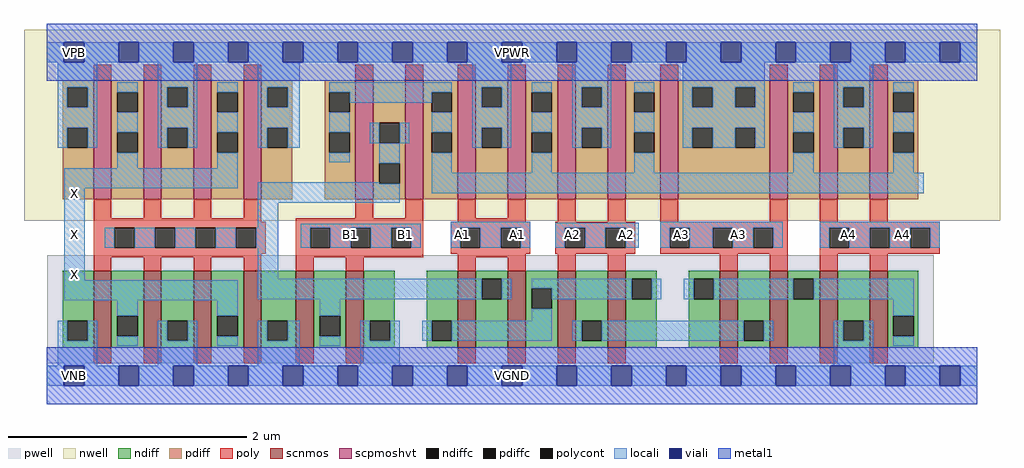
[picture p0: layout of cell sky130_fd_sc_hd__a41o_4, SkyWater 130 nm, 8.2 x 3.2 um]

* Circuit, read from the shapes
.subckt sky130_fd_sc_hd__a41o_4 A1 A2 A3 A4 B1 VGND VNB VPB VPWR X
XM1 X n1 VGND VNB sky130_fd_pr__nfet_01v8 w=0.65 l=0.15 m=4
XM2 n1 B1 VGND VNB sky130_fd_pr__nfet_01v8 w=0.65 l=0.15 m=2
XM3 n1 A1 n2 VNB sky130_fd_pr__nfet_01v8 w=0.65 l=0.15 m=2
XM4 n3 A2 n2 VNB sky130_fd_pr__nfet_01v8 w=0.65 l=0.15 m=2
XM5 n3 A3 n4 VNB sky130_fd_pr__nfet_01v8 w=0.65 l=0.15 m=2
XM6 VGND A4 n4 VNB sky130_fd_pr__nfet_01v8 w=0.65 l=0.15 m=2
XM7 X n1 VPWR VPB sky130_fd_pr__pfet_01v8_hvt w=1 l=0.15 m=4
XM8 n1 B1 n5 VPB sky130_fd_pr__pfet_01v8_hvt w=1 l=0.15 m=2
XM9 VPWR A1 n5 VPB sky130_fd_pr__pfet_01v8_hvt w=1 l=0.15 m=2
XM10 VPWR A2 n5 VPB sky130_fd_pr__pfet_01v8_hvt w=1 l=0.15 m=2
XM11 VPWR A3 n5 VPB sky130_fd_pr__pfet_01v8_hvt w=1 l=0.15 m=2
XM12 VPWR A4 n5 VPB sky130_fd_pr__pfet_01v8_hvt w=1 l=0.15 m=2
.ends

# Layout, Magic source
magic
tech sky130A
magscale 1 2
<< nwell >>
rect -38 261 1602 582
<< pwell >>
rect 1 21 1491 203
rect 30 -17 64 21
<< scnmos >>
rect 79 47 109 177
rect 163 47 193 177
rect 247 47 277 177
rect 331 47 361 177
rect 419 47 449 177
rect 503 47 533 177
rect 691 47 721 177
rect 775 47 805 177
rect 859 47 889 177
rect 943 47 973 177
rect 1131 47 1161 177
rect 1215 47 1245 177
rect 1299 47 1329 177
rect 1383 47 1413 177
<< scpmoshvt >>
rect 79 297 109 497
rect 163 297 193 497
rect 247 297 277 497
rect 331 297 361 497
rect 519 297 549 497
rect 603 297 633 497
rect 691 297 721 497
rect 775 297 805 497
rect 859 297 889 497
rect 943 297 973 497
rect 1031 297 1061 497
rect 1215 297 1245 497
rect 1299 297 1329 497
rect 1383 297 1413 497
<< ndiff >>
rect 27 93 79 177
rect 27 59 35 93
rect 69 59 79 93
rect 27 47 79 59
rect 109 101 163 177
rect 109 67 119 101
rect 153 67 163 101
rect 109 47 163 67
rect 193 93 247 177
rect 193 59 203 93
rect 237 59 247 93
rect 193 47 247 59
rect 277 101 331 177
rect 277 67 287 101
rect 321 67 331 101
rect 277 47 331 67
rect 361 93 419 177
rect 361 59 371 93
rect 405 59 419 93
rect 361 47 419 59
rect 449 101 503 177
rect 449 67 459 101
rect 493 67 503 101
rect 449 47 503 67
rect 533 93 585 177
rect 533 59 543 93
rect 577 59 585 93
rect 533 47 585 59
rect 639 93 691 177
rect 639 59 647 93
rect 681 59 691 93
rect 639 47 691 59
rect 721 163 775 177
rect 721 129 731 163
rect 765 129 775 163
rect 721 47 775 129
rect 805 147 859 177
rect 805 113 815 147
rect 849 113 859 147
rect 805 47 859 113
rect 889 93 943 177
rect 889 59 899 93
rect 933 59 943 93
rect 889 47 943 59
rect 973 163 1025 177
rect 973 129 983 163
rect 1017 129 1025 163
rect 973 47 1025 129
rect 1079 163 1131 177
rect 1079 129 1087 163
rect 1121 129 1131 163
rect 1079 47 1131 129
rect 1161 93 1215 177
rect 1161 59 1171 93
rect 1205 59 1215 93
rect 1161 47 1215 59
rect 1245 163 1299 177
rect 1245 129 1255 163
rect 1289 129 1299 163
rect 1245 47 1299 129
rect 1329 93 1383 177
rect 1329 59 1339 93
rect 1373 59 1383 93
rect 1329 47 1383 59
rect 1413 101 1465 177
rect 1413 67 1423 101
rect 1457 67 1465 101
rect 1413 47 1465 67
<< pdiff >>
rect 27 485 79 497
rect 27 451 35 485
rect 69 451 79 485
rect 27 417 79 451
rect 27 383 35 417
rect 69 383 79 417
rect 27 297 79 383
rect 109 477 163 497
rect 109 443 119 477
rect 153 443 163 477
rect 109 409 163 443
rect 109 375 119 409
rect 153 375 163 409
rect 109 297 163 375
rect 193 485 247 497
rect 193 451 203 485
rect 237 451 247 485
rect 193 417 247 451
rect 193 383 203 417
rect 237 383 247 417
rect 193 297 247 383
rect 277 477 331 497
rect 277 443 287 477
rect 321 443 331 477
rect 277 409 331 443
rect 277 375 287 409
rect 321 375 331 409
rect 277 297 331 375
rect 361 485 413 497
rect 361 451 371 485
rect 405 451 413 485
rect 361 417 413 451
rect 361 383 371 417
rect 405 383 413 417
rect 361 297 413 383
rect 467 477 519 497
rect 467 443 475 477
rect 509 443 519 477
rect 467 409 519 443
rect 467 375 475 409
rect 509 375 519 409
rect 467 297 519 375
rect 549 425 603 497
rect 549 391 559 425
rect 593 391 603 425
rect 549 357 603 391
rect 549 323 559 357
rect 593 323 603 357
rect 549 297 603 323
rect 633 477 691 497
rect 633 443 647 477
rect 681 443 691 477
rect 633 409 691 443
rect 633 375 647 409
rect 681 375 691 409
rect 633 297 691 375
rect 721 485 775 497
rect 721 451 731 485
rect 765 451 775 485
rect 721 417 775 451
rect 721 383 731 417
rect 765 383 775 417
rect 721 297 775 383
rect 805 477 859 497
rect 805 443 815 477
rect 849 443 859 477
rect 805 409 859 443
rect 805 375 815 409
rect 849 375 859 409
rect 805 297 859 375
rect 889 485 943 497
rect 889 451 899 485
rect 933 451 943 485
rect 889 417 943 451
rect 889 383 899 417
rect 933 383 943 417
rect 889 297 943 383
rect 973 477 1031 497
rect 973 443 987 477
rect 1021 443 1031 477
rect 973 409 1031 443
rect 973 375 987 409
rect 1021 375 1031 409
rect 973 297 1031 375
rect 1061 485 1215 497
rect 1061 451 1085 485
rect 1119 451 1157 485
rect 1191 451 1215 485
rect 1061 417 1215 451
rect 1061 383 1085 417
rect 1119 383 1157 417
rect 1191 383 1215 417
rect 1061 297 1215 383
rect 1245 477 1299 497
rect 1245 443 1255 477
rect 1289 443 1299 477
rect 1245 409 1299 443
rect 1245 375 1255 409
rect 1289 375 1299 409
rect 1245 297 1299 375
rect 1329 485 1383 497
rect 1329 451 1339 485
rect 1373 451 1383 485
rect 1329 417 1383 451
rect 1329 383 1339 417
rect 1373 383 1383 417
rect 1329 297 1383 383
rect 1413 477 1465 497
rect 1413 443 1423 477
rect 1457 443 1465 477
rect 1413 409 1465 443
rect 1413 375 1423 409
rect 1457 375 1465 409
rect 1413 297 1465 375
<< ndiffc >>
rect 35 59 69 93
rect 119 67 153 101
rect 203 59 237 93
rect 287 67 321 101
rect 371 59 405 93
rect 459 67 493 101
rect 543 59 577 93
rect 647 59 681 93
rect 731 129 765 163
rect 815 113 849 147
rect 899 59 933 93
rect 983 129 1017 163
rect 1087 129 1121 163
rect 1171 59 1205 93
rect 1255 129 1289 163
rect 1339 59 1373 93
rect 1423 67 1457 101
<< pdiffc >>
rect 35 451 69 485
rect 35 383 69 417
rect 119 443 153 477
rect 119 375 153 409
rect 203 451 237 485
rect 203 383 237 417
rect 287 443 321 477
rect 287 375 321 409
rect 371 451 405 485
rect 371 383 405 417
rect 475 443 509 477
rect 475 375 509 409
rect 559 391 593 425
rect 559 323 593 357
rect 647 443 681 477
rect 647 375 681 409
rect 731 451 765 485
rect 731 383 765 417
rect 815 443 849 477
rect 815 375 849 409
rect 899 451 933 485
rect 899 383 933 417
rect 987 443 1021 477
rect 987 375 1021 409
rect 1085 451 1119 485
rect 1157 451 1191 485
rect 1085 383 1119 417
rect 1157 383 1191 417
rect 1255 443 1289 477
rect 1255 375 1289 409
rect 1339 451 1373 485
rect 1339 383 1373 417
rect 1423 443 1457 477
rect 1423 375 1457 409
<< poly >>
rect 79 497 109 523
rect 163 497 193 523
rect 247 497 277 523
rect 331 497 361 523
rect 519 497 549 523
rect 603 497 633 523
rect 691 497 721 523
rect 775 497 805 523
rect 859 497 889 523
rect 943 497 973 523
rect 1031 497 1061 523
rect 1215 497 1245 523
rect 1299 497 1329 523
rect 1383 497 1413 523
rect 79 265 109 297
rect 163 265 193 297
rect 247 265 277 297
rect 331 265 361 297
rect 519 265 549 297
rect 603 265 633 297
rect 79 259 361 265
rect 79 249 368 259
rect 79 215 114 249
rect 148 215 182 249
rect 216 215 250 249
rect 284 215 318 249
rect 352 215 368 249
rect 79 205 368 215
rect 419 249 633 265
rect 691 265 721 297
rect 775 265 805 297
rect 691 259 805 265
rect 859 259 889 297
rect 943 259 973 297
rect 1031 259 1061 297
rect 1215 259 1245 297
rect 419 215 443 249
rect 477 215 511 249
rect 545 215 579 249
rect 613 215 633 249
rect 79 199 361 205
rect 79 177 109 199
rect 163 177 193 199
rect 247 177 277 199
rect 331 177 361 199
rect 419 199 633 215
rect 679 249 813 259
rect 679 215 695 249
rect 729 215 763 249
rect 797 215 813 249
rect 679 205 813 215
rect 855 249 989 259
rect 855 215 871 249
rect 905 215 939 249
rect 973 215 989 249
rect 855 205 989 215
rect 1031 249 1245 259
rect 1031 215 1047 249
rect 1081 215 1119 249
rect 1153 215 1187 249
rect 1221 215 1245 249
rect 1031 205 1245 215
rect 691 199 805 205
rect 419 177 449 199
rect 503 177 533 199
rect 691 177 721 199
rect 775 177 805 199
rect 859 177 889 205
rect 943 177 973 205
rect 1131 177 1161 205
rect 1215 177 1245 205
rect 1299 259 1329 297
rect 1383 259 1413 297
rect 1299 249 1501 259
rect 1299 215 1315 249
rect 1349 215 1383 249
rect 1417 215 1451 249
rect 1485 215 1501 249
rect 1299 205 1501 215
rect 1299 177 1329 205
rect 1383 177 1413 205
rect 79 21 109 47
rect 163 21 193 47
rect 247 21 277 47
rect 331 21 361 47
rect 419 21 449 47
rect 503 21 533 47
rect 691 21 721 47
rect 775 21 805 47
rect 859 21 889 47
rect 943 21 973 47
rect 1131 21 1161 47
rect 1215 21 1245 47
rect 1299 21 1329 47
rect 1383 21 1413 47
<< polycont >>
rect 114 215 148 249
rect 182 215 216 249
rect 250 215 284 249
rect 318 215 352 249
rect 443 215 477 249
rect 511 215 545 249
rect 579 215 613 249
rect 695 215 729 249
rect 763 215 797 249
rect 871 215 905 249
rect 939 215 973 249
rect 1047 215 1081 249
rect 1119 215 1153 249
rect 1187 215 1221 249
rect 1315 215 1349 249
rect 1383 215 1417 249
rect 1451 215 1485 249
<< locali >>
rect 0 527 29 561
rect 63 527 121 561
rect 155 527 213 561
rect 247 527 305 561
rect 339 527 397 561
rect 431 527 489 561
rect 523 527 581 561
rect 615 527 673 561
rect 707 527 765 561
rect 799 527 857 561
rect 891 527 949 561
rect 983 527 1041 561
rect 1075 527 1133 561
rect 1167 527 1225 561
rect 1259 527 1317 561
rect 1351 527 1409 561
rect 1443 527 1501 561
rect 1535 527 1564 561
rect 19 485 85 527
rect 19 451 35 485
rect 69 451 85 485
rect 19 417 85 451
rect 19 383 35 417
rect 69 383 85 417
rect 119 477 153 493
rect 119 409 153 443
rect 187 485 253 527
rect 187 451 203 485
rect 237 451 253 485
rect 187 417 253 451
rect 187 383 203 417
rect 237 383 253 417
rect 287 477 321 493
rect 287 409 321 443
rect 119 349 153 375
rect 355 485 425 527
rect 355 451 371 485
rect 405 451 425 485
rect 355 417 425 451
rect 355 383 371 417
rect 405 383 425 417
rect 475 477 681 493
rect 509 459 647 477
rect 475 409 509 443
rect 287 349 321 375
rect 543 391 559 425
rect 593 391 609 425
rect 647 409 681 443
rect 475 359 509 375
rect 30 315 321 349
rect 559 357 593 391
rect 355 323 559 325
rect 30 161 64 315
rect 355 291 593 323
rect 715 485 781 527
rect 715 451 731 485
rect 765 451 781 485
rect 715 417 781 451
rect 715 383 731 417
rect 765 383 781 417
rect 815 477 849 493
rect 815 409 849 443
rect 647 341 681 375
rect 883 485 949 527
rect 883 451 899 485
rect 933 451 949 485
rect 883 417 949 451
rect 883 383 899 417
rect 933 383 949 417
rect 987 477 1021 493
rect 987 409 1021 443
rect 815 341 849 375
rect 1069 485 1207 527
rect 1069 451 1085 485
rect 1119 451 1157 485
rect 1191 451 1207 485
rect 1069 417 1207 451
rect 1069 383 1085 417
rect 1119 383 1157 417
rect 1191 383 1207 417
rect 1255 477 1289 493
rect 1255 409 1289 443
rect 987 341 1021 375
rect 1323 485 1389 527
rect 1323 451 1339 485
rect 1373 451 1389 485
rect 1323 417 1389 451
rect 1323 383 1339 417
rect 1373 383 1389 417
rect 1423 477 1457 493
rect 1423 409 1457 443
rect 1255 341 1289 375
rect 1423 341 1457 375
rect 647 307 1474 341
rect 355 249 389 291
rect 98 215 114 249
rect 148 215 182 249
rect 216 215 250 249
rect 284 215 318 249
rect 352 215 389 249
rect 427 249 629 256
rect 427 215 443 249
rect 477 215 511 249
rect 545 215 579 249
rect 613 215 629 249
rect 679 249 813 259
rect 679 215 695 249
rect 729 215 763 249
rect 797 215 813 249
rect 855 249 995 257
rect 855 215 871 249
rect 905 215 939 249
rect 973 215 995 249
rect 1031 249 1237 259
rect 1031 215 1047 249
rect 1081 215 1119 249
rect 1153 215 1187 249
rect 1221 215 1237 249
rect 1299 249 1501 259
rect 1299 215 1315 249
rect 1349 215 1383 249
rect 1417 215 1451 249
rect 1485 215 1501 249
rect 355 163 389 215
rect 30 127 321 161
rect 355 129 731 163
rect 765 129 781 163
rect 815 147 983 163
rect 119 101 153 127
rect 19 59 35 93
rect 69 59 85 93
rect 19 17 85 59
rect 287 101 321 127
rect 119 51 153 67
rect 187 59 203 93
rect 237 59 253 93
rect 187 17 253 59
rect 459 101 493 129
rect 287 51 321 67
rect 355 59 371 93
rect 405 59 425 93
rect 355 17 425 59
rect 849 129 983 147
rect 1017 129 1033 163
rect 1071 129 1087 163
rect 1121 129 1255 163
rect 1289 129 1457 163
rect 815 93 849 113
rect 1423 101 1457 129
rect 459 51 493 67
rect 527 59 543 93
rect 577 59 593 93
rect 631 59 647 93
rect 681 59 849 93
rect 883 59 899 93
rect 933 59 1171 93
rect 1205 59 1221 93
rect 1323 59 1339 93
rect 1373 59 1389 93
rect 527 17 593 59
rect 1323 17 1389 59
rect 1423 51 1457 67
rect 0 -17 29 17
rect 63 -17 121 17
rect 155 -17 213 17
rect 247 -17 305 17
rect 339 -17 397 17
rect 431 -17 489 17
rect 523 -17 581 17
rect 615 -17 673 17
rect 707 -17 765 17
rect 799 -17 857 17
rect 891 -17 949 17
rect 983 -17 1041 17
rect 1075 -17 1133 17
rect 1167 -17 1225 17
rect 1259 -17 1317 17
rect 1351 -17 1409 17
rect 1443 -17 1501 17
rect 1535 -17 1564 17
<< viali >>
rect 29 527 63 561
rect 121 527 155 561
rect 213 527 247 561
rect 305 527 339 561
rect 397 527 431 561
rect 489 527 523 561
rect 581 527 615 561
rect 673 527 707 561
rect 765 527 799 561
rect 857 527 891 561
rect 949 527 983 561
rect 1041 527 1075 561
rect 1133 527 1167 561
rect 1225 527 1259 561
rect 1317 527 1351 561
rect 1409 527 1443 561
rect 1501 527 1535 561
rect 29 -17 63 17
rect 121 -17 155 17
rect 213 -17 247 17
rect 305 -17 339 17
rect 397 -17 431 17
rect 489 -17 523 17
rect 581 -17 615 17
rect 673 -17 707 17
rect 765 -17 799 17
rect 857 -17 891 17
rect 949 -17 983 17
rect 1041 -17 1075 17
rect 1133 -17 1167 17
rect 1225 -17 1259 17
rect 1317 -17 1351 17
rect 1409 -17 1443 17
rect 1501 -17 1535 17
<< metal1 >>
rect 0 561 1564 592
rect 0 527 29 561
rect 63 527 121 561
rect 155 527 213 561
rect 247 527 305 561
rect 339 527 397 561
rect 431 527 489 561
rect 523 527 581 561
rect 615 527 673 561
rect 707 527 765 561
rect 799 527 857 561
rect 891 527 949 561
rect 983 527 1041 561
rect 1075 527 1133 561
rect 1167 527 1225 561
rect 1259 527 1317 561
rect 1351 527 1409 561
rect 1443 527 1501 561
rect 1535 527 1564 561
rect 0 496 1564 527
rect 0 17 1564 48
rect 0 -17 29 17
rect 63 -17 121 17
rect 155 -17 213 17
rect 247 -17 305 17
rect 339 -17 397 17
rect 431 -17 489 17
rect 523 -17 581 17
rect 615 -17 673 17
rect 707 -17 765 17
rect 799 -17 857 17
rect 891 -17 949 17
rect 983 -17 1041 17
rect 1075 -17 1133 17
rect 1167 -17 1225 17
rect 1259 -17 1317 17
rect 1351 -17 1409 17
rect 1443 -17 1501 17
rect 1535 -17 1564 17
rect 0 -48 1564 -17
<< labels >>
flabel locali s 30 153 64 187 0 FreeSans 200 0 0 0 X
port 10 nsew signal output
flabel locali s 1330 221 1364 255 0 FreeSans 200 0 0 0 A4
port 4 nsew signal input
flabel locali s 1422 221 1456 255 0 FreeSans 200 0 0 0 A4
port 4 nsew signal input
flabel locali s 1146 221 1180 255 0 FreeSans 200 0 0 0 A3
port 3 nsew signal input
flabel locali s 866 221 900 255 0 FreeSans 200 0 0 0 A2
port 2 nsew signal input
flabel locali s 1050 221 1084 255 0 FreeSans 200 0 0 0 A3
port 3 nsew signal input
flabel locali s 682 221 716 255 0 FreeSans 200 0 0 0 A1
port 1 nsew signal input
flabel locali s 958 221 992 255 0 FreeSans 200 0 0 0 A2
port 2 nsew signal input
flabel locali s 494 221 528 255 0 FreeSans 200 0 0 0 B1
port 5 nsew signal input
flabel locali s 774 221 808 255 0 FreeSans 200 0 0 0 A1
port 1 nsew signal input
flabel locali s 586 221 620 255 0 FreeSans 200 0 0 0 B1
port 5 nsew signal input
flabel locali s 30 221 64 255 0 FreeSans 200 0 0 0 X
port 10 nsew signal output
flabel locali s 30 289 64 323 0 FreeSans 200 0 0 0 X
port 10 nsew signal output
flabel pwell s 30 -17 64 17 0 FreeSans 200 0 0 0 VNB
port 7 nsew ground bidirectional
flabel nwell s 30 527 64 561 0 FreeSans 200 0 0 0 VPB
port 8 nsew power bidirectional
flabel metal1 s 30 -17 64 17 0 FreeSans 200 0 0 0 VGND
port 6 nsew ground bidirectional abutment
flabel metal1 s 30 527 64 561 0 FreeSans 200 0 0 0 VPWR
port 9 nsew power bidirectional abutment
rlabel comment s 0 0 0 0 4 a41o_4
rlabel metal1 s 0 -48 1564 48 1 VGND
port 6 nsew ground bidirectional abutment
rlabel metal1 s 0 496 1564 592 1 VPWR
port 9 nsew power bidirectional abutment
<< properties >>
string FIXED_BBOX 0 0 1564 544
string GDS_END 3529956
string GDS_FILE $PDKPATH/libs.ref/sky130_fd_sc_hd/gds/sky130_fd_sc_hd.gds
string GDS_START 3517490
string LEFclass CORE
string LEFsite unithd
string LEFsymmetry X Y R90
string path 0.000 0.000 39.100 0.000 
<< end >>
